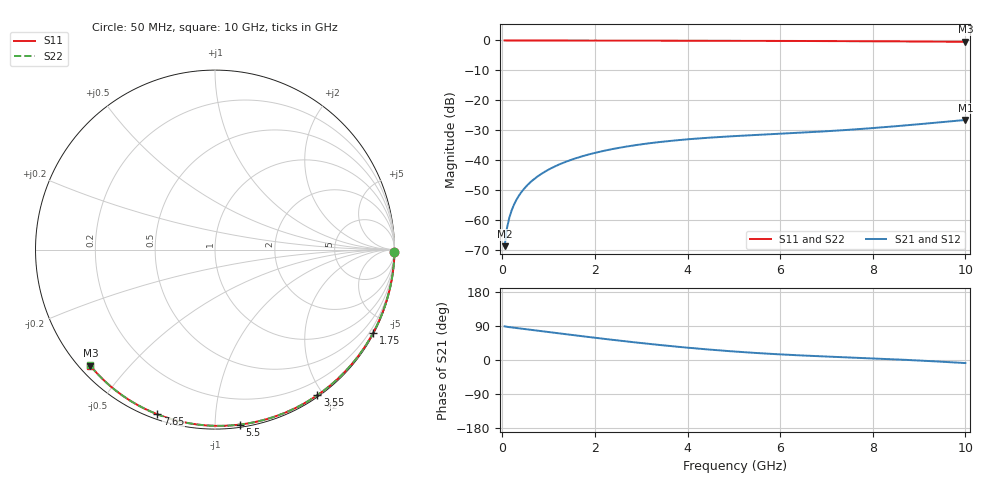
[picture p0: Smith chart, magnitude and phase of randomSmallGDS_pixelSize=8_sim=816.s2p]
! freq	dB(S11)	phase(S11)	dB(S12)	phase(S12)
!  dB(S21)	phase(S21)	dB(S22)	phase(S22)
!S-par simulation data
#  GHz  S  DB  R 50
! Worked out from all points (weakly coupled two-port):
!   200 points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, 50 MHz to 10 GHz, reference 50 ohm
!   highest |S21| = -26.61 dB at 10 GHz (marker M1); lowest = -68.8 dB at 50 MHz (marker M2)
!   lowest |S11| = -0.5 dB at 10 GHz (marker M3), VSWR 38.09, Z = 1.52 - j19.7 ohm
!   |S11| at or under -10 dB: nowhere
!   |S22| runs from -0.5 to 0.0 dB; largest |S21 - S12| = 0
!   S11 on the Smith chart (normalised r, x): 50 MHz: open; 1.75 GHz: 0.04, -4.05; 3.55 GHz: 0.02, -1.93; 5.5 GHz: 0.02, -1.15; 7.65 GHz: 0.02, -0.71; 10 GHz: 0.03, -0.39
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0.05  -0.00 -0.8  -68.85 88.7  -68.85 88.7  -0.00 -0.8
0.1  -0.00 -1.6  -62.88 87.6  -62.88 87.6  -0.00 -1.6
0.15  -0.00 -2.4  -59.40 86.7  -59.40 86.7  -0.00 -2.4
0.2  -0.00 -3.2  -56.95 85.9  -56.95 85.9  -0.00 -3.2
0.25  -0.00 -4.0  -55.04 85.2  -55.04 85.2  -0.00 -4.0
0.35  -0.00 -5.6  -52.16 83.7  -52.16 83.7  -0.00 -5.7
0.5  -0.01 -8.0  -49.10 81.5  -49.10 81.5  -0.01 -8.1
0.7  -0.01 -11.2  -46.23 78.4  -46.23 78.4  -0.01 -11.3
1  -0.02 -16.0  -43.21 73.8  -43.21 73.8  -0.02 -16.0
1.35  -0.03 -21.5  -40.73 68.4  -40.73 68.4  -0.03 -21.6
1.75  -0.04 -27.8  -38.65 62.4  -38.65 62.4  -0.04 -27.8
2.5  -0.05 -39.3  -35.99 51.5  -35.99 51.5  -0.05 -39.4
3.4  -0.07 -52.7  -33.99 39.6  -33.99 39.6  -0.07 -52.8
3.55  -0.07 -54.9  -33.74 37.8  -33.74 37.8  -0.07 -55.0
4.3  -0.09 -65.6  -32.72 29.3  -32.72 29.3  -0.09 -65.7
5.05  -0.12 -76.0  -31.98 22.1  -31.98 22.1  -0.12 -76.1
5.5  -0.13 -82.0  -31.61 18.4  -31.61 18.4  -0.13 -82.2
6.7  -0.19 -97.5  -30.65 10.7  -30.65 10.7  -0.19 -97.7
7.65  -0.25 -109.2  -29.72 5.9  -29.72 5.9  -0.25 -109.4
8.35  -0.30 -117.7  -28.89 2.4  -28.89 2.4  -0.30 -117.9
9.2  -0.37 -127.7  -27.75 -2.6  -27.75 -2.6  -0.37 -127.9
10  -0.46 -137.0  -26.61 -8.1  -26.61 -8.1  -0.46 -137.2
